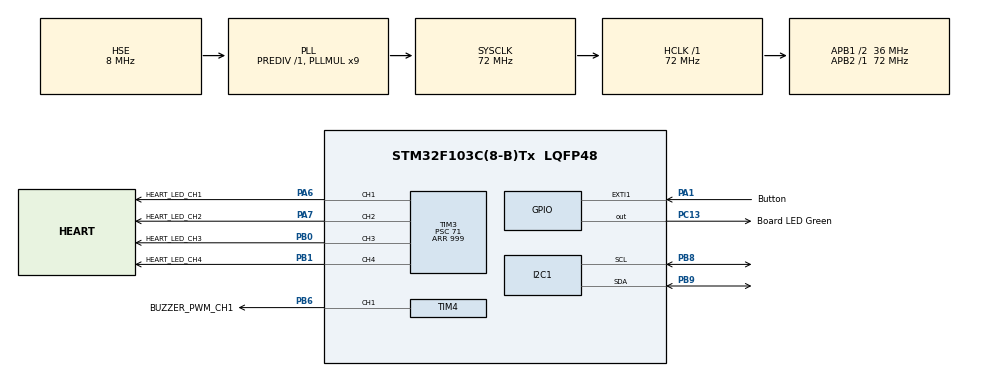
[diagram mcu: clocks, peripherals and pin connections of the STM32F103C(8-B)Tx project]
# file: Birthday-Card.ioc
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I2C1.I2C_Mode=I2C_Fast
Mcu.Family=STM32F1
Mcu.Name=STM32F103C(8-B)Tx
Mcu.Package=LQFP48
NVIC.EXTI1_IRQn=true\:0\:0\:false\:false\:true\:true\:true\:true
NVIC.PriorityGroup=NVIC_PRIORITYGROUP_4
NVIC.TIM2_IRQn=true\:0\:0\:false\:false\:true\:true\:true\:true
NVIC.TIM3_IRQn=true\:0\:0\:false\:false\:true\:true\:true\:true
NVIC.TIM4_IRQn=true\:0\:0\:false\:false\:true\:true\:true\:true
PA1.GPIO_Label=Button
PA1.GPIO_ModeDefaultEXTI=GPIO_MODE_IT_FALLING
PA1.GPIO_PuPd=GPIO_PULLUP
PA1.Signal=GPXTI1
PA13.Mode=Serial_Wire
PA13.Signal=SYS_JTMS-SWDIO
PA14.Mode=Serial_Wire
PA14.Signal=SYS_JTCK-SWCLK
PA6.GPIO_Label=HEART_LED_CH1
PA6.Signal=S_TIM3_CH1
PA7.GPIO_Label=HEART_LED_CH2
PA7.Signal=S_TIM3_CH2
PB0.GPIO_Label=HEART_LED_CH3
PB0.Signal=S_TIM3_CH3
PB1.GPIO_Label=HEART_LED_CH4
PB1.Signal=S_TIM3_CH4
PB6.GPIO_Label=BUZZER_PWM_CH1
PB6.Signal=S_TIM4_CH1
PB8.Mode=I2C
PB8.Signal=I2C1_SCL
PB9.Mode=I2C
PB9.Signal=I2C1_SDA
PC13-TAMPER-RTC.GPIO_Label=Board LED Green
PC13-TAMPER-RTC.Signal=GPIO_Output
PC14-OSC32_IN.Mode=LSE-External-Oscillator
PC14-OSC32_IN.Signal=RCC_OSC32_IN
PC15-OSC32_OUT.Mode=LSE-External-Oscillator
PC15-OSC32_OUT.Signal=RCC_OSC32_OUT
PD0-OSC_IN.Mode=HSE-External-Oscillator
PD0-OSC_IN.Signal=RCC_OSC_IN
PD1-OSC_OUT.Mode=HSE-External-Oscillator
PD1-OSC_OUT.Signal=RCC_OSC_OUT
ProjectManager.HeapSize=0x200
ProjectManager.StackSize=0x400
ProjectManager.TargetToolchain=STM32CubeIDE
RCC.AHBFreq_Value=72000000
RCC.APB1CLKDivider=RCC_HCLK_DIV2
RCC.APB1Freq_Value=36000000
RCC.APB1TimFreq_Value=72000000
RCC.APB2Freq_Value=72000000
RCC.APB2TimFreq_Value=72000000
RCC.HCLKFreq_Value=72000000
RCC.PLLMUL=RCC_PLL_MUL9
RCC.PLLSourceVirtual=RCC_PLLSOURCE_HSE
RCC.RTCClockSelection=RCC_RTCCLKSOURCE_LSE
RCC.SYSCLKFreq_VALUE=72000000
RCC.SYSCLKSource=RCC_SYSCLKSOURCE_PLLCLK
RCC.USBFreq_Value=72000000
RTC.Date=12
RTC.Month=RTC_MONTH_AUGUST
RTC.WeekDay=RTC_WEEKDAY_WEDNESDAY
RTC.Year=26
SH.S_TIM3_CH1.0=TIM3_CH1,PWM Generation1 CH1
SH.S_TIM3_CH2.0=TIM3_CH2,PWM Generation2 CH2
SH.S_TIM3_CH3.0=TIM3_CH3,PWM Generation3 CH3
SH.S_TIM3_CH4.0=TIM3_CH4,PWM Generation4 CH4
SH.S_TIM4_CH1.0=TIM4_CH1,PWM Generation1 CH1
TIM2.Period=99
TIM2.Prescaler=7199
TIM3.Channel-PWM\ Generation1\ CH1=TIM_CHANNEL_1
TIM3.Channel-PWM\ Generation2\ CH2=TIM_CHANNEL_2
TIM3.Channel-PWM\ Generation3\ CH3=TIM_CHANNEL_3
TIM3.Channel-PWM\ Generation4\ CH4=TIM_CHANNEL_4
TIM3.Period=999
TIM3.Prescaler=71
TIM3.Pulse-PWM\ Generation1\ CH1=50
TIM4.Channel-PWM\ Generation1\ CH1=TIM_CHANNEL_1
TIM4.Period=1
TIM4.Prescaler=71
TIM4.Pulse-PWM\ Generation1\ CH1=50
VP_RTC_No_RTC_Output.Mode=RTC_OUT_NO
VP_RTC_VS_RTC_Activate.Mode=RTC_Enabled
VP_RTC_VS_RTC_Calendar.Mode=RTC_Calendar
VP_TIM2_VS_ClockSourceINT.Mode=Internal
board=custom

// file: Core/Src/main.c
/* USER CODE BEGIN Header */
/**
  ******************************************************************************
  * @file           : main.c
  * @brief          : Main program body
  ******************************************************************************
  * @attention
  *
  * Copyright (c) 2026 STMicroelectronics.
  * All rights reserved.
  *
  * This software is licensed under terms that can be found in the LICENSE file
  * in the root directory of this software component.
  * If no LICENSE file comes with this software, it is provided AS-IS.
  *
  ******************************************************************************
  */
/* USER CODE END Header */
#include "main.h"

/* USER CODE BEGIN Includes */
#include "led.h"
#include "music.h"
#include "oled.h"
#include "ssd1306.h"
#include "fonts.h"

/* USER CODE END Includes */

/* USER CODE BEGIN PTD */
typedef struct{
	uint8_t einer;
	uint8_t zehner;
	uint8_t hunderter;
}zahl_t;

typedef enum
{
    WAITING,
    COUNTDOWN,
    TEXT,
    SONG,
    PICTURE,
	TIME
} state_t;

typedef enum
{
	RUN,
	BUILD,
	PULSE
}light_mode_t;

/* USER CODE END PTD */

I2C_HandleTypeDef hi2c1;

RTC_HandleTypeDef hrtc;

TIM_HandleTypeDef htim2;
TIM_HandleTypeDef htim3;
TIM_HandleTypeDef htim4;

/* USER CODE BEGIN PV */
uint8_t set=0;
state_t state=WAITING;
light_mode_t mode=RUN;
volatile zeit_t time;
static volatile uint8_t button_pressed=0;

// 'SSD_1306', 128x64px

/* USER CODE END PV */

void SystemClock_Config(void);
static void MX_GPIO_Init(void);
static void MX_TIM3_Init(void);
static void MX_TIM2_Init(void);
static void MX_TIM4_Init(void);
static void MX_I2C1_Init(void);
static void MX_RTC_Init(void);
/* USER CODE BEGIN PFP */
void Init_Time(zeit_t *t, uint8_t h, uint8_t m);
static void HandleWaitingState(void);
/* USER CODE END PFP */

int main(void)
{

  /* USER CODE BEGIN 1 */

  RTC_TimeTypeDef sTime;
  RTC_DateTypeDef sDate;

  /* USER CODE END 1 */

  /* MCU Configuration--------------------------------------------------------*/

  /* Reset of all peripherals, Initializes the Flash interface and the Systick. */
  HAL_Init();

  /* Configure the system clock */
  SystemClock_Config();

  /* Initialize all configured peripherals */
  MX_GPIO_Init();
  MX_TIM3_Init();
  MX_TIM2_Init();
  MX_TIM4_Init();
  MX_I2C1_Init();
  MX_RTC_Init();
  /* USER CODE BEGIN 2 */
  HAL_TIM_PWM_Start(&htim3, TIM_CHANNEL_1);
  HAL_TIM_PWM_Start(&htim3, TIM_CHANNEL_2);
  HAL_TIM_PWM_Start(&htim3, TIM_CHANNEL_3);
  HAL_TIM_PWM_Start(&htim3, TIM_CHANNEL_4);

  HAL_TIM_PWM_Start(&htim4, TIM_CHANNEL_1);
  HAL_TIM_Base_Start_IT(&htim2);
  buzzer_set_frequency(2000);
  __HAL_TIM_SET_COMPARE(&htim3, TIM_CHANNEL_1, 0);
  SSD1306_Init();
  HAL_Delay(150);
  buzzer_set_frequency(0);

  Init_Time(&time, 13, 51);
  /* USER CODE END 2 */

  /* Infinite loop */
  /* USER CODE BEGIN WHILE */
  while (1)
  {
    if(button_pressed)
    {
      button_pressed=0;
      if(state == WAITING)
		  {
			  state=COUNTDOWN;
			  set=1;
		  }
	  }

    switch (state)
    {
      case WAITING:
        HandleWaitingState();
        break;
      case COUNTDOWN:
        heart_pulse();
        if(countdown(10, &set))
        {
          buzzer_set_frequency(2000);
          HAL_Delay(1500);
          buzzer_set_frequency(0);
          state=TEXT;
          set=1;
        }
        break;
      case TEXT:
        if(ShowText(birthday_screens, 4, &set))
        {
          state=SONG;
          set=1;
        }
		    break;
	  case SONG:
		  if(play_happy_birthday(2, &set))
		  {
			  state=PICTURE;
			  set=1;
		  }
      show_image(2, &set);
		  break;
	  case PICTURE:
		  if(show_image(3, &set))
		  {
			  set=1;
			  state=TIME;
		  }
		  heart_pulse();
		  break;
	  case TIME:
      HAL_RTC_GetTime(&hrtc, &sTime, RTC_FORMAT_BIN);
      HAL_RTC_GetDate(&hrtc, &sDate, RTC_FORMAT_BIN);
      ShowTime(sTime);
      led_off();
      break;
	  default:
      state=WAITING;
	  }
    /* USER CODE END WHILE */

  }
}

void SystemClock_Config(void)
{
  RCC_OscInitTypeDef RCC_OscInitStruct = {0};
  RCC_ClkInitTypeDef RCC_ClkInitStruct = {0};
  RCC_PeriphCLKInitTypeDef PeriphClkInit = {0};

  /** Initializes the RCC Oscillators according to the specified parameters
  * in the RCC_OscInitTypeDef structure.
  */
  RCC_OscInitStruct.OscillatorType = RCC_OSCILLATORTYPE_HSE|RCC_OSCILLATORTYPE_LSE;
  RCC_OscInitStruct.HSEState = RCC_HSE_ON;
  RCC_OscInitStruct.HSEPredivValue = RCC_HSE_PREDIV_DIV1;
  RCC_OscInitStruct.LSEState = RCC_LSE_ON;
  RCC_OscInitStruct.HSIState = RCC_HSI_ON;
  RCC_OscInitStruct.PLL.PLLState = RCC_PLL_ON;
  RCC_OscInitStruct.PLL.PLLSource = RCC_PLLSOURCE_HSE;
  RCC_OscInitStruct.PLL.PLLMUL = RCC_PLL_MUL9;
  if (HAL_RCC_OscConfig(&RCC_OscInitStruct) != HAL_OK)
  {
    Error_Handler();
  }

  /** Initializes the CPU, AHB and APB buses clocks
  */
  RCC_ClkInitStruct.ClockType = RCC_CLOCKTYPE_HCLK|RCC_CLOCKTYPE_SYSCLK
                              |RCC_CLOCKTYPE_PCLK1|RCC_CLOCKTYPE_PCLK2;
  RCC_ClkInitStruct.SYSCLKSource = RCC_SYSCLKSOURCE_PLLCLK;
  RCC_ClkInitStruct.AHBCLKDivider = RCC_SYSCLK_DIV1;
  RCC_ClkInitStruct.APB1CLKDivider = RCC_HCLK_DIV2;
  RCC_ClkInitStruct.APB2CLKDivider = RCC_HCLK_DIV1;

  if (HAL_RCC_ClockConfig(&RCC_ClkInitStruct, FLASH_LATENCY_2) != HAL_OK)
  {
    Error_Handler();
  }
  PeriphClkInit.PeriphClockSelection = RCC_PERIPHCLK_RTC;
  PeriphClkInit.RTCClockSelection = RCC_RTCCLKSOURCE_LSE;
  if (HAL_RCCEx_PeriphCLKConfig(&PeriphClkInit) != HAL_OK)
  {
    Error_Handler();
  }
}

static void MX_I2C1_Init(void)
{

  hi2c1.Instance = I2C1;
  hi2c1.Init.ClockSpeed = 400000;
  hi2c1.Init.DutyCycle = I2C_DUTYCYCLE_2;
  hi2c1.Init.OwnAddress1 = 0;
  hi2c1.Init.AddressingMode = I2C_ADDRESSINGMODE_7BIT;
  hi2c1.Init.DualAddressMode = I2C_DUALADDRESS_DISABLE;
  hi2c1.Init.OwnAddress2 = 0;
  hi2c1.Init.GeneralCallMode = I2C_GENERALCALL_DISABLE;
  hi2c1.Init.NoStretchMode = I2C_NOSTRETCH_DISABLE;
  if (HAL_I2C_Init(&hi2c1) != HAL_OK)
  {
    Error_Handler();
  }

}

static void MX_RTC_Init(void)
{

  RTC_TimeTypeDef sTime = {0};
  RTC_DateTypeDef DateToUpdate = {0};

  /** Initialize RTC Only
  */
  hrtc.Instance = RTC;
  hrtc.Init.AsynchPrediv = RTC_AUTO_1_SECOND;
  hrtc.Init.OutPut = RTC_OUTPUTSOURCE_NONE;
  if (HAL_RTC_Init(&hrtc) != HAL_OK)
  {
    Error_Handler();
  }

  /** Initialize RTC and set the Time and Date
  */
  sTime.Hours = 0x0;
  sTime.Minutes = 0x0;
  sTime.Seconds = 0x0;

  if (HAL_RTC_SetTime(&hrtc, &sTime, RTC_FORMAT_BCD) != HAL_OK)
  {
    Error_Handler();
  }
  DateToUpdate.WeekDay = RTC_WEEKDAY_WEDNESDAY;
  DateToUpdate.Month = RTC_MONTH_AUGUST;
  DateToUpdate.Date = 0x12;
  DateToUpdate.Year = 0x26;

  if (HAL_RTC_SetDate(&hrtc, &DateToUpdate, RTC_FORMAT_BCD) != HAL_OK)
  {
    Error_Handler();
  }

}

static void MX_TIM2_Init(void)
{

  TIM_ClockConfigTypeDef sClockSourceConfig = {0};
  TIM_MasterConfigTypeDef sMasterConfig = {0};

  htim2.Instance = TIM2;
  htim2.Init.Prescaler = 7199;
  htim2.Init.CounterMode = TIM_COUNTERMODE_UP;
  htim2.Init.Period = 99;
  htim2.Init.ClockDivision = TIM_CLOCKDIVISION_DIV1;
  htim2.Init.AutoReloadPreload = TIM_AUTORELOAD_PRELOAD_DISABLE;
  if (HAL_TIM_Base_Init(&htim2) != HAL_OK)
  {
    Error_Handler();
  }
  sClockSourceConfig.ClockSource = TIM_CLOCKSOURCE_INTERNAL;
  if (HAL_TIM_ConfigClockSource(&htim2, &sClockSourceConfig) != HAL_OK)
  {
    Error_Handler();
  }
  sMasterConfig.MasterOutputTrigger = TIM_TRGO_RESET;
  sMasterConfig.MasterSlaveMode = TIM_MASTERSLAVEMODE_DISABLE;
  if (HAL_TIMEx_MasterConfigSynchronization(&htim2, &sMasterConfig) != HAL_OK)
  {
    Error_Handler();
  }

}

static void MX_TIM3_Init(void)
{

  TIM_MasterConfigTypeDef sMasterConfig = {0};
  TIM_OC_InitTypeDef sConfigOC = {0};

  htim3.Instance = TIM3;
  htim3.Init.Prescaler = 71;
  htim3.Init.CounterMode = TIM_COUNTERMODE_UP;
  htim3.Init.Period = 999;
  htim3.Init.ClockDivision = TIM_CLOCKDIVISION_DIV1;
  htim3.Init.AutoReloadPreload = TIM_AUTORELOAD_PRELOAD_DISABLE;
  if (HAL_TIM_PWM_Init(&htim3) != HAL_OK)
  {
    Error_Handler();
  }
  sMasterConfig.MasterOutputTrigger = TIM_TRGO_RESET;
  sMasterConfig.MasterSlaveMode = TIM_MASTERSLAVEMODE_DISABLE;
  if (HAL_TIMEx_MasterConfigSynchronization(&htim3, &sMasterConfig) != HAL_OK)
  {
    Error_Handler();
  }
  sConfigOC.OCMode = TIM_OCMODE_PWM1;
  sConfigOC.Pulse = 50;
  sConfigOC.OCPolarity = TIM_OCPOLARITY_HIGH;
  sConfigOC.OCFastMode = TIM_OCFAST_DISABLE;
  if (HAL_TIM_PWM_ConfigChannel(&htim3, &sConfigOC, TIM_CHANNEL_1) != HAL_OK)
  {
    Error_Handler();
  }
  sConfigOC.Pulse = 0;
  if (HAL_TIM_PWM_ConfigChannel(&htim3, &sConfigOC, TIM_CHANNEL_2) != HAL_OK)
  {
    Error_Handler();
  }
  if (HAL_TIM_PWM_ConfigChannel(&htim3, &sConfigOC, TIM_CHANNEL_3) != HAL_OK)
  {
    Error_Handler();
  }
  if (HAL_TIM_PWM_ConfigChannel(&htim3, &sConfigOC, TIM_CHANNEL_4) != HAL_OK)
  {
    Error_Handler();
  }
  HAL_TIM_MspPostInit(&htim3);

}

static void MX_TIM4_Init(void)
{

  TIM_MasterConfigTypeDef sMasterConfig = {0};
  TIM_OC_InitTypeDef sConfigOC = {0};

  htim4.Instance = TIM4;
  htim4.Init.Prescaler = 71;
  htim4.Init.CounterMode = TIM_COUNTERMODE_UP;
  htim4.Init.Period = 1;
  htim4.Init.ClockDivision = TIM_CLOCKDIVISION_DIV1;
  htim4.Init.AutoReloadPreload = TIM_AUTORELOAD_PRELOAD_DISABLE;
  if (HAL_TIM_PWM_Init(&htim4) != HAL_OK)
  {
    Error_Handler();
  }
  sMasterConfig.MasterOutputTrigger = TIM_TRGO_RESET;
  sMasterConfig.MasterSlaveMode = TIM_MASTERSLAVEMODE_DISABLE;
  if (HAL_TIMEx_MasterConfigSynchronization(&htim4, &sMasterConfig) != HAL_OK)
  {
    Error_Handler();
  }
  sConfigOC.OCMode = TIM_OCMODE_PWM1;
  sConfigOC.Pulse = 50;
  sConfigOC.OCPolarity = TIM_OCPOLARITY_HIGH;
  sConfigOC.OCFastMode = TIM_OCFAST_DISABLE;
  if (HAL_TIM_PWM_ConfigChannel(&htim4, &sConfigOC, TIM_CHANNEL_1) != HAL_OK)
  {
    Error_Handler();
  }
  HAL_TIM_MspPostInit(&htim4);

}

static void MX_GPIO_Init(void)
{
  GPIO_InitTypeDef GPIO_InitStruct = {0};

  /* GPIO Ports Clock Enable */
  __HAL_RCC_GPIOC_CLK_ENABLE();
  __HAL_RCC_GPIOD_CLK_ENABLE();
  __HAL_RCC_GPIOA_CLK_ENABLE();
  __HAL_RCC_GPIOB_CLK_ENABLE();

  /*Configure GPIO pin Output Level */
  HAL_GPIO_WritePin(Board_LED_Green_GPIO_Port, Board_LED_Green_Pin, GPIO_PIN_RESET);

  /*Configure GPIO pin : Board_LED_Green_Pin */
  GPIO_InitStruct.Pin = Board_LED_Green_Pin;
  GPIO_InitStruct.Mode = GPIO_MODE_OUTPUT_PP;
  GPIO_InitStruct.Pull = GPIO_NOPULL;
  GPIO_InitStruct.Speed = GPIO_SPEED_FREQ_LOW;
  HAL_GPIO_Init(Board_LED_Green_GPIO_Port, &GPIO_InitStruct);

  /*Configure GPIO pin : Button_Pin */
  GPIO_InitStruct.Pin = Button_Pin;
  GPIO_InitStruct.Mode = GPIO_MODE_IT_FALLING;
  GPIO_InitStruct.Pull = GPIO_PULLUP;
  HAL_GPIO_Init(Button_GPIO_Port, &GPIO_InitStruct);

  /* EXTI interrupt init*/
  HAL_NVIC_SetPriority(EXTI1_IRQn, 0, 0);
  HAL_NVIC_EnableIRQ(EXTI1_IRQn);

}

/* USER CODE BEGIN 4 */
static void HandleWaitingState(void)
{
	switch (mode)
	{
	case RUN:
		if(running_light(20, &set))
		{
			set=1;
			mode=BUILD;
		}
		break;
	case BUILD:
		if(running_light_build(4, &set))
		{
			set=1;
			mode=RUN;
		}
		break;
	}
}

void Init_Time(zeit_t *t, uint8_t h, uint8_t m)
{
	t->ms=0;
	t->s=0;
	t->m=m;
	t->h=h;
}

void HAL_TIM_PeriodElapsedCallback(TIM_HandleTypeDef *htim)
{
	if(htim->Instance == TIM2)
	{
		time.ms=time.ms+10;

		if(time.ms>=1000)
		{
			time.s++;
			time.ms=0;
		}

		if(time.s>=60)
		{
			time.m++;
			time.s=0;
	    }

		if(time.m>=60)
		{
			time.h++;
	        time.m=0;
	    }

		if(time.h>=24)
		{
			time.h=0;
		}
	}
}

void HAL_GPIO_EXTI_Callback(uint16_t GPIO_Pin)
{
    if(GPIO_Pin == GPIO_PIN_1)
    {
        static uint32_t last_button_tick = 0;
        uint32_t now = HAL_GetTick();

        if((now - last_button_tick) >= 50)
        {
            last_button_tick = now;
            button_pressed = 1;
        }
    }
}
/* USER CODE END 4 */

void Error_Handler(void)
{
  __disable_irq();
  while (1)
  {
  }
}
